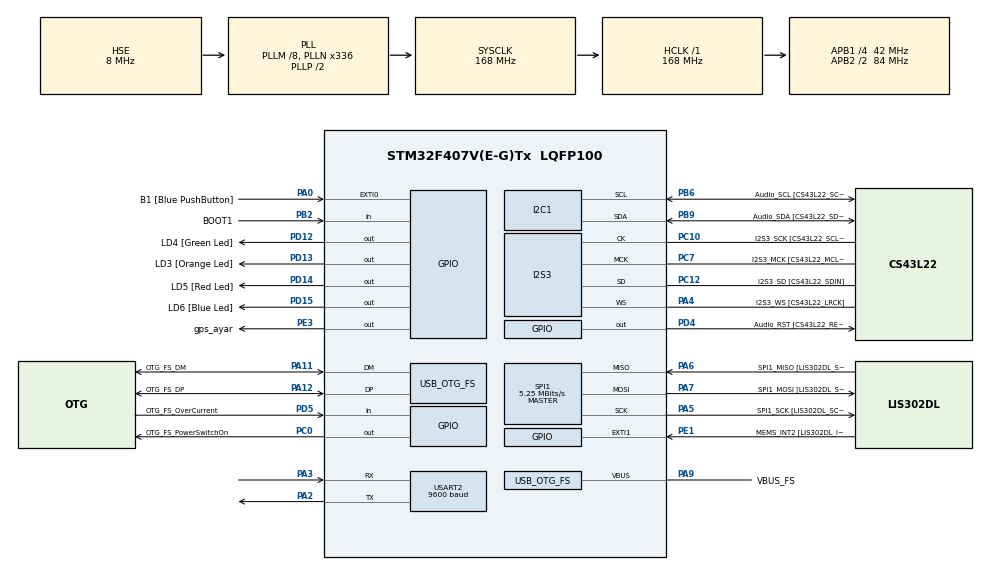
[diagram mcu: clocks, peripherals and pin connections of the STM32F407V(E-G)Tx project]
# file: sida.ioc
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I2S3.AudioFreq-Half_Duplex_Master=I2S_AUDIOFREQ_96K
I2S3.ErrorAudioFreq=-2.34 %
I2S3.ErrorAudioFreq-Half_Duplex_Master=0.8 %
I2S3.FullDuplexMode=I2S_FULLDUPLEXMODE_DISABLE
I2S3.Instance=SPI$Index
I2S3.RealAudioFreq=93.75 KHz
I2S3.RealAudioFreq-Half_Duplex_Master=96.774 KHz
I2S3.VirtualMode=I2S_MODE_MASTER
Mcu.Family=STM32F4
Mcu.Name=STM32F407V(E-G)Tx
Mcu.Package=LQFP100
NVIC.OTG_FS_IRQn=true\:0\:0\:false\:false\:true\:true\:true\:true
NVIC.PriorityGroup=NVIC_PRIORITYGROUP_0
NVIC.USART2_IRQn=true\:0\:0\:false\:false\:true\:true\:true\:true
PA0-WKUP.GPIO_Label=B1 [Blue PushButton]
PA0-WKUP.GPIO_ModeDefaultEXTI=GPIO_MODE_EVT_RISING
PA0-WKUP.GPIO_PuPd=GPIO_NOPULL
PA0-WKUP.Signal=GPXTI0
PA10.GPIO_Label=OTG_FS_ID
PA10.GPIO_Mode=GPIO_MODE_AF_PP
PA10.GPIO_PuPd=GPIO_NOPULL
PA10.GPIO_Speed=GPIO_SPEED_FREQ_LOW
PA10.Signal=USB_OTG_FS_ID
PA11.GPIO_Label=OTG_FS_DM
PA11.GPIO_Mode=GPIO_MODE_AF_PP
PA11.GPIO_PuPd=GPIO_NOPULL
PA11.GPIO_Speed=GPIO_SPEED_FREQ_LOW
PA11.Mode=Device_Only
PA11.Signal=USB_OTG_FS_DM
PA12.GPIO_Label=OTG_FS_DP
PA12.GPIO_Mode=GPIO_MODE_AF_PP
PA12.GPIO_PuPd=GPIO_NOPULL
PA12.GPIO_Speed=GPIO_SPEED_FREQ_LOW
PA12.Mode=Device_Only
PA12.Signal=USB_OTG_FS_DP
PA13.GPIO_Label=SWDIO
PA13.Mode=Serial_Wire
PA13.Signal=SYS_JTMS-SWDIO
PA14.GPIO_Label=SWCLK
PA14.Mode=Serial_Wire
PA14.Signal=SYS_JTCK-SWCLK
PA2.Mode=Asynchronous
PA2.Signal=USART2_TX
PA3.Mode=Asynchronous
PA3.Signal=USART2_RX
PA4.GPIO_Label=I2S3_WS [CS43L22_LRCK]
PA4.GPIO_Mode=GPIO_MODE_AF_PP
PA4.GPIO_PuPd=GPIO_NOPULL
PA4.GPIO_Speed=GPIO_SPEED_FREQ_LOW
PA4.Mode=Half_Duplex_Master
PA4.Signal=I2S3_WS
PA5.GPIO_Label=SPI1_SCK [LIS302DL_SCL/SPC]
PA5.GPIO_Mode=GPIO_MODE_AF_PP
PA5.GPIO_PuPd=GPIO_NOPULL
PA5.GPIO_Speed=GPIO_SPEED_FREQ_LOW
PA5.Mode=Full_Duplex_Master
PA5.Signal=SPI1_SCK
PA6.GPIO_Label=SPI1_MISO [LIS302DL_SDO]
PA6.GPIO_Mode=GPIO_MODE_AF_PP
PA6.GPIO_PuPd=GPIO_NOPULL
PA6.GPIO_Speed=GPIO_SPEED_FREQ_LOW
PA6.Mode=Full_Duplex_Master
PA6.Signal=SPI1_MISO
PA7.GPIO_Label=SPI1_MOSI [LIS302DL_SDA/SDI/SDO]
PA7.GPIO_Mode=GPIO_MODE_AF_PP
PA7.GPIO_PuPd=GPIO_NOPULL
PA7.GPIO_Speed=GPIO_SPEED_FREQ_LOW
PA7.Mode=Full_Duplex_Master
PA7.Signal=SPI1_MOSI
PA9.GPIO_Label=VBUS_FS
PA9.GPIO_Mode=GPIO_MODE_INPUT
PA9.GPIO_PuPd=GPIO_NOPULL
PA9.Mode=Activate_VBUS
PA9.Signal=USB_OTG_FS_VBUS
PB10.GPIO_Label=CLK_IN [MP45DT02_CLK]
PB10.GPIO_Mode=GPIO_MODE_AF_PP
PB10.GPIO_PuPd=GPIO_NOPULL
PB10.GPIO_Speed=GPIO_SPEED_FREQ_LOW
PB10.Signal=I2S2_CK
PB2.GPIO_Label=BOOT1
PB2.GPIO_Mode=GPIO_MODE_INPUT
PB2.GPIO_PuPd=GPIO_NOPULL
PB2.Signal=GPIO_Input
PB3.GPIO_Label=SWO
PB3.Signal=SYS_JTDO-SWO
PB6.GPIO_Label=Audio_SCL [CS43L22_SCL]
PB6.GPIO_Mode=GPIO_MODE_AF_OD
PB6.GPIO_Pu=GPIO_PULLUP
PB6.GPIO_PuPd=GPIO_NOPULL
PB6.GPIO_Speed=GPIO_SPEED_FREQ_LOW
PB6.Mode=I2C
PB6.Signal=I2C1_SCL
PB9.GPIO_Label=Audio_SDA [CS43L22_SDA]
PB9.GPIO_Mode=GPIO_MODE_AF_OD
PB9.GPIO_Pu=GPIO_PULLUP
PB9.GPIO_PuPd=GPIO_NOPULL
PB9.GPIO_Speed=GPIO_SPEED_FREQ_LOW
PB9.Mode=I2C
PB9.Signal=I2C1_SDA
PC0.GPIO_Label=OTG_FS_PowerSwitchOn
PC0.GPIO_PuPd=GPIO_NOPULL
PC0.GPIO_Speed=GPIO_SPEED_FREQ_LOW
PC0.PinState=GPIO_PIN_SET
PC0.Signal=GPIO_Output
PC10.GPIO_Label=I2S3_SCK [CS43L22_SCLK]
PC10.GPIO_Mode=GPIO_MODE_AF_PP
PC10.GPIO_PuPd=GPIO_NOPULL
PC10.GPIO_Speed=GPIO_SPEED_FREQ_LOW
PC10.Mode=Half_Duplex_Master
PC10.Signal=I2S3_CK
PC12.GPIO_Label=I2S3_SD [CS43L22_SDIN]
PC12.GPIO_Mode=GPIO_MODE_AF_PP
PC12.GPIO_PuPd=GPIO_NOPULL
PC12.GPIO_Speed=GPIO_SPEED_FREQ_LOW
PC12.Mode=Half_Duplex_Master
PC12.Signal=I2S3_SD
PC14-OSC32_IN.GPIO_Label=PC14-OSC32_IN
PC14-OSC32_IN.Mode=LSE-External-Oscillator
PC14-OSC32_IN.Signal=RCC_OSC32_IN
PC15-OSC32_OUT.GPIO_Label=PC15-OSC32_OUT
PC15-OSC32_OUT.Mode=LSE-External-Oscillator
PC15-OSC32_OUT.Signal=RCC_OSC32_OUT
PC3.GPIO_Label=PDM_OUT [MP45DT02_DOUT]
PC3.GPIO_Mode=GPIO_MODE_AF_PP
PC3.GPIO_PuPd=GPIO_NOPULL
PC3.GPIO_Speed=GPIO_SPEED_FREQ_LOW
PC3.Signal=I2S2_SD
PC7.GPIO_Label=I2S3_MCK [CS43L22_MCLK]
PC7.GPIO_Mode=GPIO_MODE_AF_PP
PC7.GPIO_PuPd=GPIO_NOPULL
PC7.GPIO_Speed=GPIO_SPEED_FREQ_LOW
PC7.Mode=Master_Clock_Activated
PC7.Signal=I2S3_MCK
PD12.GPIO_Label=LD4 [Green Led]
PD12.GPIO_PuPd=GPIO_NOPULL
PD12.GPIO_Speed=GPIO_SPEED_FREQ_LOW
PD12.Signal=GPIO_Output
PD13.GPIO_Label=LD3 [Orange Led]
PD13.GPIO_PuPd=GPIO_NOPULL
PD13.GPIO_Speed=GPIO_SPEED_FREQ_LOW
PD13.Signal=GPIO_Output
PD14.GPIO_Label=LD5 [Red Led]
PD14.GPIO_PuPd=GPIO_NOPULL
PD14.GPIO_Speed=GPIO_SPEED_FREQ_LOW
PD14.Signal=GPIO_Output
PD15.GPIO_Label=LD6 [Blue Led]
PD15.GPIO_PuPd=GPIO_NOPULL
PD15.GPIO_Speed=GPIO_SPEED_FREQ_LOW
PD15.Signal=GPIO_Output
PD4.GPIO_Label=Audio_RST [CS43L22_RESET]
PD4.GPIO_PuPd=GPIO_NOPULL
PD4.GPIO_Speed=GPIO_SPEED_FREQ_LOW
PD4.Signal=GPIO_Output
PD5.GPIO_Label=OTG_FS_OverCurrent
PD5.GPIO_Mode=GPIO_MODE_INPUT
PD5.GPIO_PuPd=GPIO_NOPULL
PD5.Signal=GPIO_Input
PE1.GPIO_Label=MEMS_INT2 [LIS302DL_INT2]
PE1.GPIO_ModeDefaultEXTI=GPIO_MODE_EVT_RISING
PE1.GPIO_PuPd=GPIO_NOPULL
PE1.Signal=GPXTI1
PE3.GPIO_Label=gps_ayar
PE3.Signal=GPIO_Output
PH0-OSC_IN.GPIO_Label=PH0-OSC_IN
PH0-OSC_IN.Mode=HSE-External-Oscillator
PH0-OSC_IN.Signal=RCC_OSC_IN
PH1-OSC_OUT.GPIO_Label=PH1-OSC_OUT
PH1-OSC_OUT.Mode=HSE-External-Oscillator
PH1-OSC_OUT.Signal=RCC_OSC_OUT
ProjectManager.HeapSize=0x200
ProjectManager.StackSize=0x400
ProjectManager.TargetToolchain=STM32CubeIDE
RCC.48MHZClocksFreq_Value=48000000
RCC.AHBFreq_Value=168000000
RCC.APB1CLKDivider=RCC_HCLK_DIV4
RCC.APB1Freq_Value=42000000
RCC.APB1TimFreq_Value=84000000
RCC.APB2CLKDivider=RCC_HCLK_DIV2
RCC.APB2Freq_Value=84000000
RCC.APB2TimFreq_Value=168000000
RCC.CortexFreq_Value=168000000
RCC.HCLKFreq_Value=168000000
RCC.HSE_VALUE=8000000
RCC.HSI_VALUE=16000000
RCC.PLLM=8
RCC.PLLN=336
RCC.PLLQ=7
RCC.SYSCLKFreq_VALUE=168000000
RCC.SYSCLKSource=RCC_SYSCLKSOURCE_PLLCLK
RCC.VCOOutputFreq_Value=336000000
SPI1.BaudRatePrescaler=SPI_BAUDRATEPRESCALER_16
SPI1.CLKPhase=SPI_PHASE_2EDGE
SPI1.CLKPolarity=SPI_POLARITY_HIGH
SPI1.CalculateBaudRate=5.25 MBits/s
SPI1.Direction=SPI_DIRECTION_2LINES
SPI1.Mode=SPI_MODE_MASTER
SPI1.VirtualType=VM_MASTER
USART2.BaudRate=9600
USART2.VirtualMode=VM_ASYNC
USB_DEVICE.CLASS_NAME_FS=CDC
USB_DEVICE.VirtualMode-CDC_FS=Cdc
USB_DEVICE.VirtualModeFS=Cdc_FS
USB_OTG_FS.VirtualMode=Device_Only
VP_USB_DEVICE_VS_USB_DEVICE_CDC_FS.Mode=CDC_FS
board=STM32F407G-DISC1

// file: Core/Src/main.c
/* USER CODE BEGIN Header */
/**
  ******************************************************************************
  * @file           : main.c
  * @brief          : STM32F407 GPS + Gyro MAVLink Integration
  ******************************************************************************
  */
/* USER CODE END Header */

#include "main.h"
#include "usb_device.h"

/* USER CODE BEGIN Includes */
#include "mavlink/common/mavlink.h"
#include "usbd_cdc_if.h"
#include <string.h>
#include <stdlib.h>
/* USER CODE END Includes */

I2C_HandleTypeDef hi2c1;
I2S_HandleTypeDef hi2s3;
SPI_HandleTypeDef hspi1;
UART_HandleTypeDef huart2;  // GPS için UART

/* USER CODE BEGIN PV */
// GPS Verileri
typedef struct {
    uint8_t fix_type;
    float latitude;
    float longitude;
    float altitude;
    float ground_speed;
    float course;
    uint8_t satellites;
} GPS_Data_t;

GPS_Data_t gps_data = {0};

// GPS UART Buffer
#define GPS_BUFFER_SIZE 256
uint8_t gps_rx_buffer[GPS_BUFFER_SIZE];
uint8_t gps_rx_index = 0;
uint8_t gps_rx_byte;

/* USER CODE END PV */

void SystemClock_Config(void);
static void MX_GPIO_Init(void);
static void MX_I2C1_Init(void);
static void MX_I2S3_Init(void);
static void MX_SPI1_Init(void);
static void MX_USART2_UART_Init(void);

/* USER CODE BEGIN PFP */
void Parse_GPS_NMEA(uint8_t *buffer, uint16_t len);
void Extract_GPGGA(char *sentence);
void Extract_GPRMC(char *sentence);
/* USER CODE END PFP */

int main(void)
{
  /* USER CODE BEGIN 1 */
  mavlink_message_t msg;
  uint8_t buf[MAVLINK_MAX_PACKET_LEN];
  uint16_t len;
  uint32_t last_send_time = 0;
  uint32_t last_heartbeat_time = 0;
  /* USER CODE END 1 */

  HAL_Init();
  SystemClock_Config();

  /* Initialize all configured peripherals */
  MX_GPIO_Init();
  MX_I2C1_Init();
  MX_I2S3_Init();
  MX_SPI1_Init();
  MX_USART2_UART_Init();
  MX_USB_DEVICE_Init();

  /* USER CODE BEGIN 2 */
  HAL_Delay(100);

  // Gyro sensör başlatma
  uint8_t id_addr = 0x0F | 0x80;
  uint8_t id_val = 0;
  HAL_GPIO_WritePin(GPIOE, GPIO_PIN_3, GPIO_PIN_RESET);
  HAL_SPI_Transmit(&hspi1, &id_addr, 1, 50);
  HAL_SPI_Receive(&hspi1, &id_val, 1, 50);
  HAL_GPIO_WritePin(GPIOE, GPIO_PIN_3, GPIO_PIN_SET);

  // Gyro sensör konfigürasyonu
  uint8_t reg_addr = 0x20;
  uint8_t reg_val = 0x67;
  HAL_GPIO_WritePin(GPIOE, GPIO_PIN_3, GPIO_PIN_RESET);
  HAL_SPI_Transmit(&hspi1, &reg_addr, 1, 50);
  HAL_SPI_Transmit(&hspi1, &reg_val, 1, 50);
  HAL_GPIO_WritePin(GPIOE, GPIO_PIN_3, GPIO_PIN_SET);

  // GPS UART interrupt başlat
  HAL_UART_Receive_IT(&huart2, &gps_rx_byte, 1);

  HAL_Delay(100);
  /* USER CODE END 2 */

  while (1)
  {
    /* USER CODE BEGIN WHILE */
    HAL_GPIO_TogglePin(GPIOD, GPIO_PIN_12); // LED Toggle

    // GYRO VERİLERİNİ OKU (Sadece X ve Y - MPU9255 gelene kadar)
    uint8_t xl, xh, yl, yh;
    uint8_t addr_xl = 0x28 | 0x80;
    uint8_t addr_xh = 0x29 | 0x80;
    uint8_t addr_yl = 0x2A | 0x80;
    uint8_t addr_yh = 0x2B | 0x80;

    // X axis
    HAL_GPIO_WritePin(GPIOE, GPIO_PIN_3, GPIO_PIN_RESET);
    HAL_SPI_Transmit(&hspi1, &addr_xl, 1, 50);
    HAL_SPI_Receive(&hspi1, &xl, 1, 50);
    HAL_GPIO_WritePin(GPIOE, GPIO_PIN_3, GPIO_PIN_SET);

    HAL_GPIO_WritePin(GPIOE, GPIO_PIN_3, GPIO_PIN_RESET);
    HAL_SPI_Transmit(&hspi1, &addr_xh, 1, 50);
    HAL_SPI_Receive(&hspi1, &xh, 1, 50);
    HAL_GPIO_WritePin(GPIOE, GPIO_PIN_3, GPIO_PIN_SET);

    // Y axis
    HAL_GPIO_WritePin(GPIOE, GPIO_PIN_3, GPIO_PIN_RESET);
    HAL_SPI_Transmit(&hspi1, &addr_yl, 1, 50);
    HAL_SPI_Receive(&hspi1, &yl, 1, 50);
    HAL_GPIO_WritePin(GPIOE, GPIO_PIN_3, GPIO_PIN_SET);

    HAL_GPIO_WritePin(GPIOE, GPIO_PIN_3, GPIO_PIN_RESET);
    HAL_SPI_Transmit(&hspi1, &addr_yh, 1, 50);
    HAL_SPI_Receive(&hspi1, &yh, 1, 50);
    HAL_GPIO_WritePin(GPIOE, GPIO_PIN_3, GPIO_PIN_SET);

    // Gyro verilerini birleştir
    int16_t x_raw = (int16_t)((xh << 8) | xl);
    int16_t y_raw = (int16_t)((yh << 8) | yl);
    float roll = (float)x_raw * 0.0001f;
    float pitch = (float)y_raw * 0.0001f;
    float yaw = 0.0f;  // MPU9255 gelene kadar 0

    // HEARTBEAT gönder (1 saniyede bir)
    if (HAL_GetTick() - last_heartbeat_time >= 1000) {
      last_heartbeat_time = HAL_GetTick();

      mavlink_msg_heartbeat_pack(1, 200, &msg,
                                 MAV_TYPE_GENERIC,      // type
                                 MAV_AUTOPILOT_GENERIC, // autopilot
                                 MAV_MODE_PREFLIGHT,    // base_mode
                                 0,                     // custom_mode
                                 MAV_STATE_STANDBY);    // system_status
      len = mavlink_msg_to_send_buffer(buf, &msg);
      while (CDC_Transmit_FS(buf, len) == USBD_BUSY);
      HAL_Delay(10);
    }

    // 100ms'de bir MAVLink gönder
    if (HAL_GetTick() - last_send_time >= 100) {
      last_send_time = HAL_GetTick();

      // 1. ATTITUDE mesajı gönder (Gyro)
      mavlink_msg_attitude_pack(1, 200, &msg, HAL_GetTick(),
                                roll, pitch, yaw, 0, 0, 0);
      len = mavlink_msg_to_send_buffer(buf, &msg);
      while (CDC_Transmit_FS(buf, len) == USBD_BUSY);

      HAL_Delay(10);

      // 2. GPS_RAW_INT mesajı gönder
      int32_t lat = (int32_t)(gps_data.latitude * 1e7);
      int32_t lon = (int32_t)(gps_data.longitude * 1e7);
      int32_t alt = (int32_t)(gps_data.altitude * 1000);
      uint16_t vel = (uint16_t)(gps_data.ground_speed * 100);
      uint16_t cog = (uint16_t)(gps_data.course * 100);

      mavlink_msg_gps_raw_int_pack(1, 200, &msg,
                                   HAL_GetTick() * 1000,  // time_usec
                                   gps_data.fix_type,      // fix_type
                                   lat, lon, alt,          // lat, lon, alt
                                   UINT16_MAX, UINT16_MAX, // eph, epv (accuracy)
                                   vel, cog,               // vel, cog
                                   gps_data.satellites,    // satellites_visible
                                   0,                      // alt_ellipsoid (MAVLink v2)
                                   0,                      // h_acc (MAVLink v2)
                                   0,                      // v_acc (MAVLink v2)
                                   0,                      // vel_acc (MAVLink v2)
                                   0,                      // hdg_acc (MAVLink v2)
                                   0);                     // yaw (MAVLink v2)
      len = mavlink_msg_to_send_buffer(buf, &msg);
      while (CDC_Transmit_FS(buf, len) == USBD_BUSY);

      HAL_Delay(10);

      // 3. GLOBAL_POSITION_INT mesajı gönder
      mavlink_msg_global_position_int_pack(1, 200, &msg,
                                           HAL_GetTick(),
                                           lat, lon, alt, alt,
                                           0, 0, 0,
                                           UINT16_MAX);
      len = mavlink_msg_to_send_buffer(buf, &msg);
      while (CDC_Transmit_FS(buf, len) == USBD_BUSY);
    }

    HAL_Delay(10);
    /* USER CODE END WHILE */
  }
}

/* USER CODE BEGIN 4 */

// UART MSP Init - GPIO pinlerini USART2'ye ata
void HAL_UART_MspInit(UART_HandleTypeDef* huart)
{
  GPIO_InitTypeDef GPIO_InitStruct = {0};

  if(huart->Instance == USART2)
  {
    // USART2 Clock Enable
    __HAL_RCC_USART2_CLK_ENABLE();
    __HAL_RCC_GPIOA_CLK_ENABLE();

    // PA2 -> USART2_TX
    // PA3 -> USART2_RX
    GPIO_InitStruct.Pin = GPIO_PIN_2 | GPIO_PIN_3;
    GPIO_InitStruct.Mode = GPIO_MODE_AF_PP;
    GPIO_InitStruct.Pull = GPIO_NOPULL;
    GPIO_InitStruct.Speed = GPIO_SPEED_FREQ_VERY_HIGH;
    GPIO_InitStruct.Alternate = GPIO_AF7_USART2;
    HAL_GPIO_Init(GPIOA, &GPIO_InitStruct);

    // USART2 interrupt enable
    HAL_NVIC_SetPriority(USART2_IRQn, 0, 0);
    HAL_NVIC_EnableIRQ(USART2_IRQn);
  }
}

// UART Interrupt Callback - GPS verileri için
void HAL_UART_RxCpltCallback(UART_HandleTypeDef *huart)
{
  if (huart->Instance == USART2) {
    // DEBUG: Ham GPS verisini USB'ye gönder
    CDC_Transmit_FS(&gps_rx_byte, 1);

    if (gps_rx_byte == '\n') {
      gps_rx_buffer[gps_rx_index] = '\0';
      Parse_GPS_NMEA(gps_rx_buffer, gps_rx_index);
      gps_rx_index = 0;
    } else if (gps_rx_index < GPS_BUFFER_SIZE - 1) {
      gps_rx_buffer[gps_rx_index++] = gps_rx_byte;
    }
    HAL_UART_Receive_IT(&huart2, &gps_rx_byte, 1);
  }
}

// NMEA cümlelerini parse et
void Parse_GPS_NMEA(uint8_t *buffer, uint16_t len)
{
  if (len < 6) return;

  char *sentence = (char *)buffer;

  if (strncmp(sentence, "$GPGGA", 6) == 0 || strncmp(sentence, "$GNGGA", 6) == 0) {
    Extract_GPGGA(sentence);
  } else if (strncmp(sentence, "$GPRMC", 6) == 0 || strncmp(sentence, "$GNRMC", 6) == 0) {
    Extract_GPRMC(sentence);
  }
}

// GPGGA cümlesini parse et (konum, uydu sayısı, altitude)
void Extract_GPGGA(char *sentence)
{
  char *token;
  int field = 0;

  token = strtok(sentence, ",");
  while (token != NULL) {
    field++;
    switch (field) {
      case 3: // Latitude
        if (strlen(token) > 0) {
          float lat_deg = atof(token) / 100.0f;
          int deg = (int)lat_deg;
          float min = (lat_deg - deg) * 100.0f;
          gps_data.latitude = deg + (min / 60.0f);
        }
        break;
      case 4: // N/S
        if (token[0] == 'S') gps_data.latitude = -gps_data.latitude;
        break;
      case 5: // Longitude
        if (strlen(token) > 0) {
          float lon_deg = atof(token) / 100.0f;
          int deg = (int)lon_deg;
          float min = (lon_deg - deg) * 100.0f;
          gps_data.longitude = deg + (min / 60.0f);
        }
        break;
      case 6: // E/W
        if (token[0] == 'W') gps_data.longitude = -gps_data.longitude;
        break;
      case 7: // Fix quality (NMEA -> MAVLink dönüşümü)
        {
          uint8_t nmea_fix = atoi(token);
          // NMEA: 0=NoFix, 1=GPS, 2=DGPS, 4=RTK, 5=Float
          // MAVLink: 0=NoFix, 1=NoFix, 2=2D, 3=3D, 4=DGPS, 5=Float, 6=RTK
          if (nmea_fix == 0) gps_data.fix_type = 0;      // No Fix
          else if (nmea_fix == 1) gps_data.fix_type = 3; // GPS Fix -> 3D Fix
          else if (nmea_fix == 2) gps_data.fix_type = 4; // DGPS
          else if (nmea_fix == 4) gps_data.fix_type = 6; // RTK Fixed
          else if (nmea_fix == 5) gps_data.fix_type = 5; // RTK Float
          else gps_data.fix_type = 3; // Default: 3D Fix
        }
        break;
      case 8: // Satellites
        gps_data.satellites = atoi(token);
        break;
      case 10: // Altitude
        gps_data.altitude = atof(token);
        break;
    }
    token = strtok(NULL, ",");
  }
}

// GPRMC cümlesini parse et (hız, kurs)
void Extract_GPRMC(char *sentence)
{
  char *token;
  int field = 0;

  token = strtok(sentence, ",");
  while (token != NULL) {
    field++;
    switch (field) {
      case 8: // Ground speed (knots)
        gps_data.ground_speed = atof(token) * 0.514444f; // knots to m/s
        break;
      case 9: // Course (0-360 arası)
        {
          float course_raw = atof(token);
          // 0-360 aralığına al
          while (course_raw >= 360.0f) course_raw -= 360.0f;
          while (course_raw < 0.0f) course_raw += 360.0f;
          gps_data.course = course_raw;
        }
        break;
    }
    token = strtok(NULL, ",");
  }
}

/* USER CODE END 4 */

static void MX_USART2_UART_Init(void)
{
  huart2.Instance = USART2;
  huart2.Init.BaudRate = 9600;  // M8N default baud rate
  huart2.Init.WordLength = UART_WORDLENGTH_8B;
  huart2.Init.StopBits = UART_STOPBITS_1;
  huart2.Init.Parity = UART_PARITY_NONE;
  huart2.Init.Mode = UART_MODE_TX_RX;
  huart2.Init.HwFlowCtl = UART_HWCONTROL_NONE;
  huart2.Init.OverSampling = UART_OVERSAMPLING_16;
  if (HAL_UART_Init(&huart2) != HAL_OK)
  {
    Error_Handler();
  }
}

void SystemClock_Config(void)
{
  RCC_OscInitTypeDef RCC_OscInitStruct = {0};
  RCC_ClkInitTypeDef RCC_ClkInitStruct = {0};

  __HAL_RCC_PWR_CLK_ENABLE();
  __HAL_PWR_VOLTAGESCALING_CONFIG(PWR_REGULATOR_VOLTAGE_SCALE1);

  RCC_OscInitStruct.OscillatorType = RCC_OSCILLATORTYPE_HSE;
  RCC_OscInitStruct.HSEState = RCC_HSE_ON;
  RCC_OscInitStruct.PLL.PLLState = RCC_PLL_ON;
  RCC_OscInitStruct.PLL.PLLSource = RCC_PLLSOURCE_HSE;
  RCC_OscInitStruct.PLL.PLLM = 8;
  RCC_OscInitStruct.PLL.PLLN = 336;
  RCC_OscInitStruct.PLL.PLLP = RCC_PLLP_DIV2;
  RCC_OscInitStruct.PLL.PLLQ = 7;
  if (HAL_RCC_OscConfig(&RCC_OscInitStruct) != HAL_OK)
  {
    Error_Handler();
  }

  RCC_ClkInitStruct.ClockType = RCC_CLOCKTYPE_HCLK|RCC_CLOCKTYPE_SYSCLK
                              |RCC_CLOCKTYPE_PCLK1|RCC_CLOCKTYPE_PCLK2;
  RCC_ClkInitStruct.SYSCLKSource = RCC_SYSCLKSOURCE_PLLCLK;
  RCC_ClkInitStruct.AHBCLKDivider = RCC_SYSCLK_DIV1;
  RCC_ClkInitStruct.APB1CLKDivider = RCC_HCLK_DIV4;
  RCC_ClkInitStruct.APB2CLKDivider = RCC_HCLK_DIV2;

  if (HAL_RCC_ClockConfig(&RCC_ClkInitStruct, FLASH_LATENCY_5) != HAL_OK)
  {
    Error_Handler();
  }
}

static void MX_I2C1_Init(void)
{
  hi2c1.Instance = I2C1;
  hi2c1.Init.ClockSpeed = 100000;
  hi2c1.Init.DutyCycle = I2C_DUTYCYCLE_2;
  hi2c1.Init.OwnAddress1 = 0;
  hi2c1.Init.AddressingMode = I2C_ADDRESSINGMODE_7BIT;
  hi2c1.Init.DualAddressMode = I2C_DUALADDRESS_DISABLE;
  hi2c1.Init.OwnAddress2 = 0;
  hi2c1.Init.GeneralCallMode = I2C_GENERALCALL_DISABLE;
  hi2c1.Init.NoStretchMode = I2C_NOSTRETCH_DISABLE;
  if (HAL_I2C_Init(&hi2c1) != HAL_OK)
  {
    Error_Handler();
  }
}

static void MX_I2S3_Init(void)
{
  hi2s3.Instance = SPI3;
  hi2s3.Init.Mode = I2S_MODE_MASTER_TX;
  hi2s3.Init.Standard = I2S_STANDARD_PHILIPS;
  hi2s3.Init.DataFormat = I2S_DATAFORMAT_16B;
  hi2s3.Init.MCLKOutput = I2S_MCLKOUTPUT_ENABLE;
  hi2s3.Init.AudioFreq = I2S_AUDIOFREQ_96K;
  hi2s3.Init.CPOL = I2S_CPOL_LOW;
  hi2s3.Init.ClockSource = I2S_CLOCK_PLL;
  hi2s3.Init.FullDuplexMode = I2S_FULLDUPLEXMODE_DISABLE;
  if (HAL_I2S_Init(&hi2s3) != HAL_OK)
  {
    Error_Handler();
  }
}

static void MX_SPI1_Init(void)
{
  hspi1.Instance = SPI1;
  hspi1.Init.Mode = SPI_MODE_MASTER;
  hspi1.Init.Direction = SPI_DIRECTION_2LINES;
  hspi1.Init.DataSize = SPI_DATASIZE_8BIT;
  hspi1.Init.CLKPolarity = SPI_POLARITY_HIGH;
  hspi1.Init.CLKPhase = SPI_PHASE_2EDGE;
  hspi1.Init.NSS = SPI_NSS_SOFT;
  hspi1.Init.BaudRatePrescaler = SPI_BAUDRATEPRESCALER_16;
  hspi1.Init.FirstBit = SPI_FIRSTBIT_MSB;
  hspi1.Init.TIMode = SPI_TIMODE_DISABLE;
  hspi1.Init.CRCCalculation = SPI_CRCCALCULATION_DISABLE;
  hspi1.Init.CRCPolynomial = 10;
  if (HAL_SPI_Init(&hspi1) != HAL_OK)
  {
    Error_Handler();
  }
}

static void MX_GPIO_Init(void)
{
  GPIO_InitTypeDef GPIO_InitStruct = {0};

  __HAL_RCC_GPIOE_CLK_ENABLE();
  __HAL_RCC_GPIOC_CLK_ENABLE();
  __HAL_RCC_GPIOH_CLK_ENABLE();
  __HAL_RCC_GPIOA_CLK_ENABLE();
  __HAL_RCC_GPIOB_CLK_ENABLE();
  __HAL_RCC_GPIOD_CLK_ENABLE();

  HAL_GPIO_WritePin(GPIOE, GPIO_PIN_3, GPIO_PIN_SET);
  HAL_GPIO_WritePin(GPIOD, GPIO_PIN_12|GPIO_PIN_13|GPIO_PIN_14|GPIO_PIN_15, GPIO_PIN_RESET);

  GPIO_InitStruct.Pin = GPIO_PIN_3;
  GPIO_InitStruct.Mode = GPIO_MODE_OUTPUT_PP;
  GPIO_InitStruct.Pull = GPIO_NOPULL;
  GPIO_InitStruct.Speed = GPIO_SPEED_FREQ_LOW;
  HAL_GPIO_Init(GPIOE, &GPIO_InitStruct);

  GPIO_InitStruct.Pin = GPIO_PIN_12|GPIO_PIN_13|GPIO_PIN_14|GPIO_PIN_15;
  GPIO_InitStruct.Mode = GPIO_MODE_OUTPUT_PP;
  GPIO_InitStruct.Pull = GPIO_NOPULL;
  GPIO_InitStruct.Speed = GPIO_SPEED_FREQ_LOW;
  HAL_GPIO_Init(GPIOD, &GPIO_InitStruct);
}

void Error_Handler(void)
{
  __disable_irq();
  while (1)
  {
  }
}
